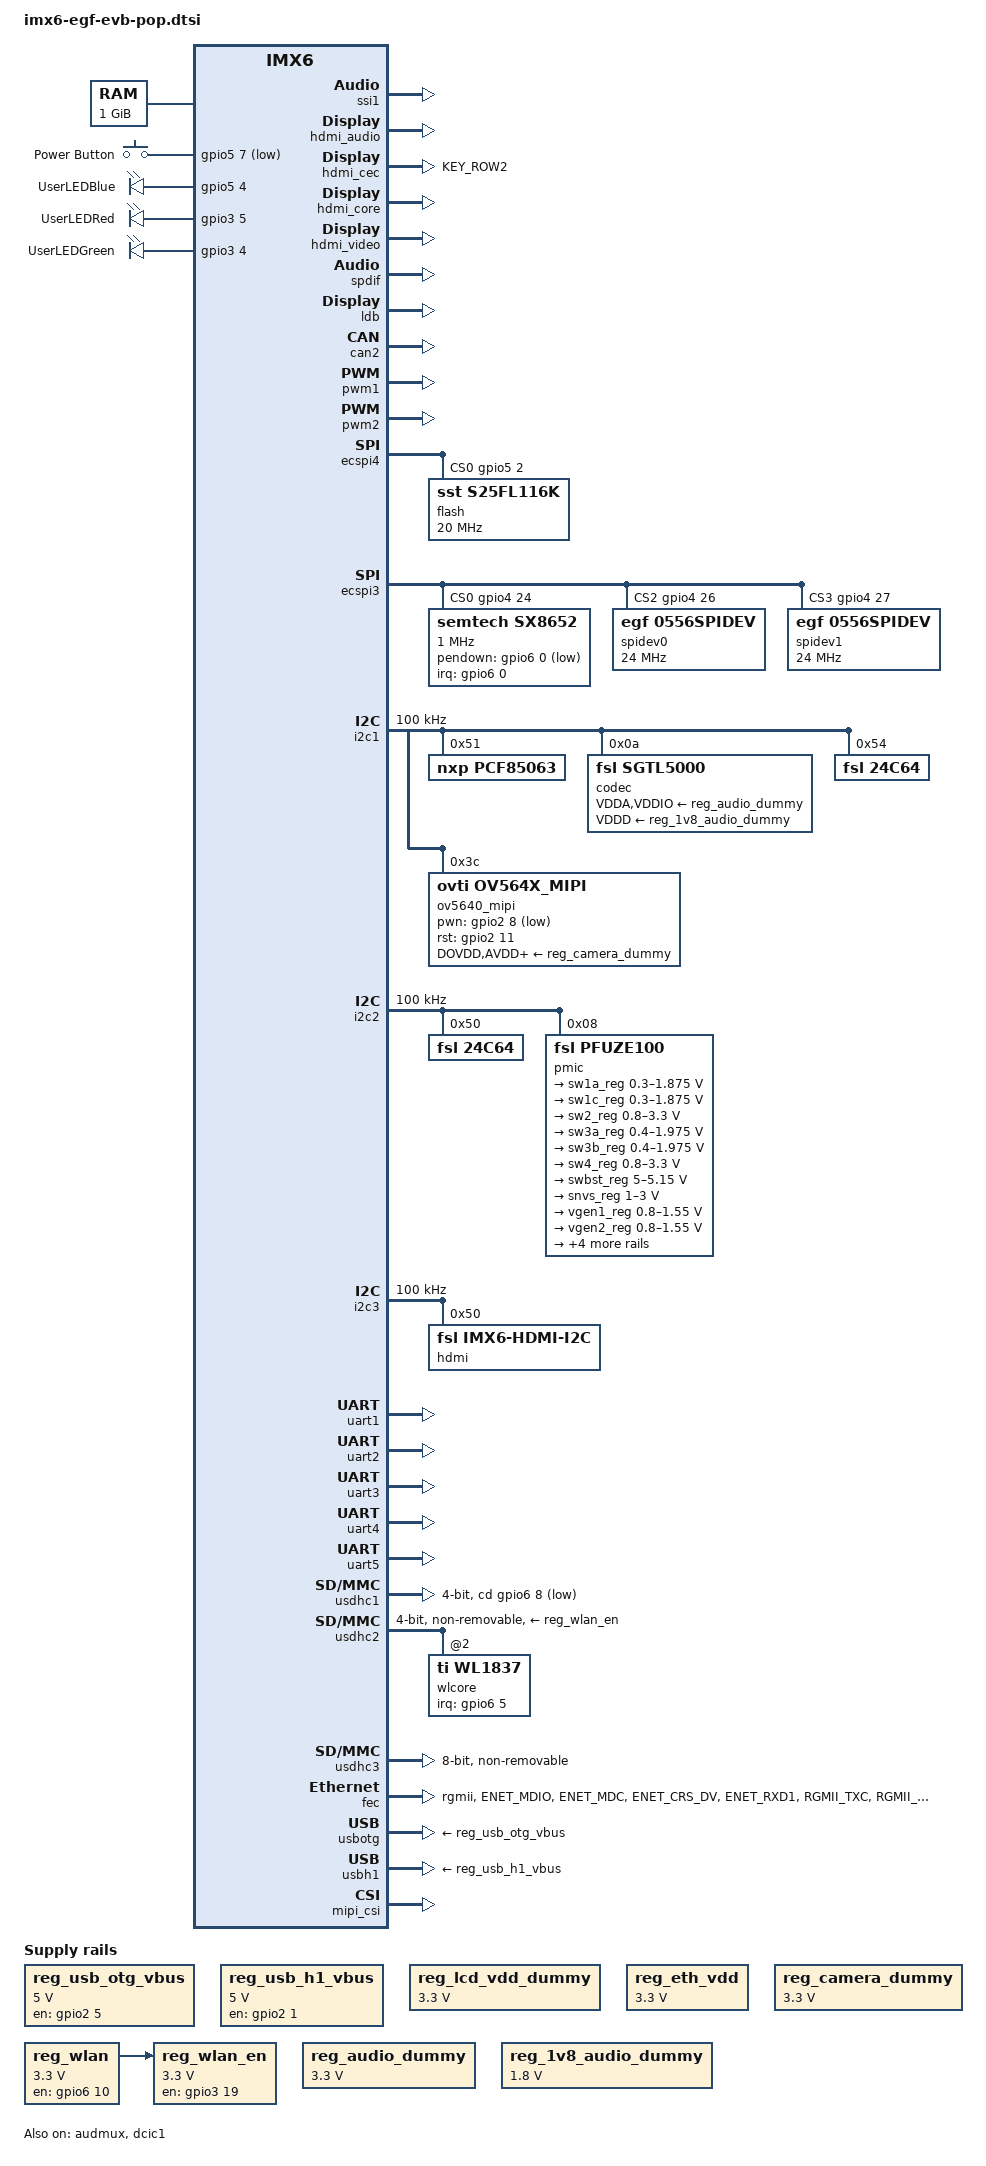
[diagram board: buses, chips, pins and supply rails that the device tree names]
/*
 * Copyright 2013 Freescale Semiconductor, Inc.
 *
 * Author: Fabio Estevam <fabio.estevam@freescale.com>
 *
 * This program is free software; you can redistribute it and/or modify
 * it under the terms of the GNU General Public License version 2 as
 * published by the Free Software Foundation.
 *
 */

#include <dt-bindings/input/input.h>
#include <dt-bindings/interrupt-controller/irq.h>

/ {
	aliases {
		mxcfb0 = &mxcfb1;
		lvds_channel0 = &lvds_channel0;
		lvds_channel0_timings = &lvds_channel0_timings;
		EGF_BLC1093 = &EGF_BLC1093;
	};

	chosen {
		stdout-path = &uart1;
	};

	memory: memory {
		reg = <0x10000000 0x40000000>;
	};

	gpio-keys {
		compatible = "gpio-keys";
		power {
			label = "Power Button";
			gpios = <&gpio5 7 1>;
			linux,code = <KEY_POWER>;
			gpio-key,wakeup;
		};
	};

	regulators {
		compatible = "simple-bus";
		#address-cells = <1>;
		#size-cells = <0>;

		reg_usb_otg_vbus: regulator@0 {
			compatible = "regulator-fixed";
			reg = <0>;
			gpio = <&gpio2 5 0>;
			regulator-name = "usb_otg_vbus";
			regulator-min-microvolt = <5000000>;
			regulator-max-microvolt = <5000000>;
			enable-active-high;
		};
		
		reg_usb_h1_vbus: regulator@1 {
			compatible = "regulator-fixed";
			reg = <1>;
			gpio = <&gpio2 1 0>;
			regulator-name = "usb_h1_vbus";
			regulator-min-microvolt = <5000000>;
			regulator-max-microvolt = <5000000>;
			enable-active-high;
		};
		
		
		reg_lcd_vdd_dummy: regulator@3 {
			compatible = "regulator-fixed";
			reg = <3>;
			regulator-name = "lcd_vdd";
			regulator-min-microvolt = <3300000>;
			regulator-max-microvolt = <3300000>;
			regulator-always-on;
		};

		
		reg_eth_vdd: regulator@5 {
			compatible = "regulator-fixed";
			reg = <5>;
			regulator-name = "eth_vdd";
			regulator-min-microvolt = <3300000>;
			regulator-max-microvolt = <3300000>;
			regulator-always-on;
		};		
		
		reg_camera_dummy: regulator@6 {
			compatible = "regulator-fixed";
			reg = <6>;
			regulator-name = "camera-supplies";
			regulator-min-microvolt = <3300000>;
			regulator-max-microvolt = <3300000>;
			regulator-always-on;
		};	
		
		reg_wlan: regulator@7 {
			compatible = "regulator-fixed";
			reg = <7>;
			regulator-name = "wlan-supply";
			regulator-min-microvolt = <3300000>;
			regulator-max-microvolt = <3300000>;
			gpio = <&gpio6 10 0>;
			enable-active-high;
			regulator-boot-on;
			regulator-always-on;
		};
		
		reg_wlan_en: regulator@8 {
			compatible = "regulator-fixed";
			reg = <8>;
			regulator-name = "wlan-en";
			regulator-min-microvolt = <3300000>;
			regulator-max-microvolt = <3300000>;
			startup-delay-us = <200000>;
			vin-supply = <&reg_wlan>;
			gpio = <&gpio3 19 0>;
			enable-active-high;
		};
		
		reg_audio_dummy: regulator@9 {
			compatible = "regulator-fixed";
			reg = <9>;
			regulator-name = "audio_vdda_vddio";
			regulator-min-microvolt = <3300000>;
			regulator-max-microvolt = <3300000>;
			regulator-always-on;
		};
		
		reg_1v8_audio_dummy: regulator@10 {
			compatible = "regulator-fixed";
			reg = <10>;
			regulator-name = "audio_vddd";
			regulator-min-microvolt = <1800000>;
			regulator-max-microvolt = <1800000>;
			regulator-always-on;		
		};

	};
	
	mxcfb1: fb@0 {
		compatible = "fsl,mxc_sdc_fb";
		disp_dev = "hdmi";
		interface_pix_fmt = "RGB24";
		mode_str ="1920x1080M@60";
		default_bpp = <24>;
		int_clk = <0>;
		late_init = <0>;
		status = "okay";
	};
	
	mxcfb2: fb@1 {
		compatible = "fsl,mxc_sdc_fb";
		disp_dev = "ldb";
		interface_pix_fmt = "RGB666";
		default_bpp = <18>;
		int_clk = <0>;
		late_init = <0>;
		status = "okay";
	};
	
	v4l2_cap_0 {
		compatible = "fsl,imx6q-v4l2-capture";
		ipu_id = <0>;
		csi_id = <0>;
		mclk_source = <0>;
		status = "okay";
	};

	v4l2_out {
		compatible = "fsl,mxc_v4l2_output";
		status = "okay";
	};

	sound {
		compatible = "fsl,imx-egf-pop-sgtl5000",
			     "fsl,imx-audio-sgtl5000";
		model = "imx-egf-pop-sgtl5000";
		ssi-controller = <&ssi1>;
		audio-codec = <&codec>;
		audio-routing =
			"Line Out Jack", "LINE_OUT",
			"MIC_IN", "Mic Jack",
			"Mic Jack", "Mic Bias";		
		mux-int-port = <1>;
		mux-ext-port = <5>;
	};
	
	sound-hdmi {
		compatible = "fsl,imx6q-audio-hdmi",
			     "fsl,imx-audio-hdmi";
		model = "imx-audio-hdmi";
		hdmi-controller = <&hdmi_audio>;
	};

	sound-spdif {
		compatible = "fsl,imx-audio-spdif",
			   "fsl,imx-egf-spdif";
		model = "imx-spdif";
		spdif-controller = <&spdif>;
		spdif-in;
		spdif-out;
	};

	leds {
		compatible = "gpio-leds";
		led_blue {
			label = "UserLEDBlue";
			gpios = <&gpio5 4 0>;
			linux,default-trigger = "heartbeat";
		};
		led_red {
			label = "UserLEDRed";
			gpios = <&gpio3 5 0>;
			linux,default-trigger = "none";
		};
		led_green {
			label = "UserLEDGreen";
			gpios = <&gpio3 4 0>;
			linux,default-trigger = "none";
		};
	};
	
};

&cpu0 {
	operating-points = <
	/* kHz    uV */
		1200000 1275000
		996000  1250000
		852000  1250000
		792000  1175000
		396000  1075000
	>;
	fsl,soc-operating-points = <
	/* ARM kHz  SOC-PU uV */
		1200000 1275000
		996000	1275000
		852000	1275000
		792000	1275000
		396000	1275000
	>;
};

&snvs_poweroff {
	status = "okay";
};

&audmux {
	status = "okay";
};

&ssi1 {
	fsl,mode = "i2s-slave";
	status = "okay";
};

&dcic1 {
	dcic_id = <0>;
	dcic_mux = "dcic-hdmi";
	status = "okay";
};

&hdmi_audio {
	status = "okay";
};

&hdmi_cec {
	pinctrl-names = "default";
	pinctrl-0 = <&pinctrl_hdmi_cec>;
	status = "okay";
};

&hdmi_core {
	ipu_id = <0>;
	disp_id = <1>;
	status = "okay";
};

&hdmi_video {
	fsl,phy_reg_vlev = <0x0294>;
	fsl,phy_reg_cksymtx = <0x800d>;
	status = "okay";
};

&spdif {
	pinctrl-names = "default";
	pinctrl-0 = <>;
	assigned-clocks = <&clks IMX6QDL_CLK_SPDIF_SEL>,
			  <&clks IMX6QDL_CLK_SPDIF_PODF>;
	assigned-clock-parents = <&clks IMX6QDL_CLK_PLL3_PFD3_454M>;
	assigned-clock-rates = <0>, <227368421>;
	status = "okay";
};

&ldb {
	status = "okay";
	enable-active-high;

	lvds_channel0: lvds-channel@0 {
		fsl,data-mapping = "spwg";
		fsl,data-width = <18>;
		crtc = "ipu1-di0";
		status = "okay";
		primary;

		lvds_channel0_timings: display-timings {
			native-mode = <&EGF_BLC1093>;
			EGF_BLC1093: kwh070kq13-f02 {
				clock-frequency = <40000000>;
				hactive = <800>;
				vactive = <480>;
				hback-porch = <45>;
				hfront-porch = <210>;
				vback-porch = <22>;
				vfront-porch = <132>;
				hsync-len = <1>;
				vsync-len = <1>;
			};
		};
	};
};

&can2 {
	status = "okay";
};

&pwm1 {
	status = "okay";
};

&pwm2 {
	status = "okay";
};

&cpu0 {
	arm-supply = <&sw1a_reg>;
	soc-supply = <&sw1c_reg>;
};

&gpc {
	//use ldo-bypass, u-boot will check it and configure
	fsl,ldo-bypass = <1>;
};

&iomuxc {
	pinctrl-names = "default";
	imx6q-egf {
		pinctrl_hdmi_cec: hdmicecgrp {
			fsl,pins = <
				MX6QDL_PAD_KEY_ROW2__HDMI_TX_CEC_LINE 0x1f8b0
			>;
		};

		pinctrl_enet: enetgrp {
			fsl,pins = <
				MX6QDL_PAD_ENET_MDIO__ENET_MDIO		0x1b0b0
				MX6QDL_PAD_ENET_MDC__ENET_MDC		0x1b0b0
				MX6QDL_PAD_ENET_CRS_DV__GPIO1_IO25	0x130b0		/* AR8035 reset */
				MX6QDL_PAD_ENET_RXD1__GPIO1_IO26	0x80000000	/* AR8035 interrupt */
				MX6QDL_PAD_RGMII_TXC__RGMII_TXC		0x1b0b0
				MX6QDL_PAD_RGMII_TD0__RGMII_TD0		0x1b0b0
				MX6QDL_PAD_RGMII_TD1__RGMII_TD1		0x1b0b0
				MX6QDL_PAD_RGMII_TD2__RGMII_TD2		0x1b0b0
				MX6QDL_PAD_RGMII_TD3__RGMII_TD3		0x1b0b0
				MX6QDL_PAD_RGMII_TX_CTL__RGMII_TX_CTL	0x1b0b0
				MX6QDL_PAD_ENET_REF_CLK__ENET_TX_CLK	0x1b0b0
				MX6QDL_PAD_RGMII_RXC__RGMII_RXC		0x1b0b0
				MX6QDL_PAD_RGMII_RD0__RGMII_RD0		0x1b0b0
				MX6QDL_PAD_RGMII_RD1__RGMII_RD1		0x1b0b0
				MX6QDL_PAD_RGMII_RD2__RGMII_RD2		0x1b0b0
				MX6QDL_PAD_RGMII_RD3__RGMII_RD3		0x1b0b0
				MX6QDL_PAD_RGMII_RX_CTL__RGMII_RX_CTL	0x1b0b0
			>;
		};
	};
};

&ecspi4 {
	fsl,spi-num-chipselects = <1>;
	cs-gpios = <&gpio5 2 0>;
	status = "okay";

	flash: m25p80@0 {
		compatible = "sst,s25fl116k";
		spi-max-frequency = <20000000>;
		reg = <0>;
		#address-cells = <1>;
		#size-cells = <1>;
		mtd0@00000000 {
			label = "SPL";
			reg = <0x000000 0x040000>;
		};
		mtd1@00040000 {
			label = "UBOOT";
			reg = <0x040000 0x100000>;
		};
		mtd2@00140000 {
			label = "DATA";
			reg = <0x140000 0x0C0000>;
		};

	};
};

&ecspi3 {
	fsl,spi-num-chipselects = <4>;
	cs-gpios = <
		&gpio4 24 0
		&gpio4 25 0
		&gpio4 26 0
		&gpio4 27 0
	>;
	status = "okay";
	
	sx8652@0 {
		compatible = "semtech,sx8652";
		interrupt-parent = <&gpio6>;   //GPIO6_IO0
		interrupts = <0 2>;
		spi-max-frequency = <1000000>;
		reg = <0>;
		x-min = /bits/ 16 <150>;
		x-max = /bits/ 16 <3830>;
		y-min = /bits/ 16 <190>;
		y-max = /bits/ 16 <3830>;
		x-plate-ohms = /bits/ 16 <450>;
		y-plate-ohms = /bits/ 16 <250>;
		pressure-max = /bits/ 16 <500>;
		pendown-gpio = <&gpio6 0 1>;
		ts-wires = /bits/ 8 <4>;
	};
	
	spidev0: spi@2 {
		compatible = "egf,0556spidev";
		reg = <2>;
		spi-max-frequency = <24000000>;
	};
	spidev1: spi@3 {
		compatible = "egf,0556spidev";
		reg = <3>;
		spi-max-frequency = <24000000>;
	};
};

&i2c1 {
	clock-frequency = <100000>;
	status = "okay";
	
	//rtc pcf85063
	pcf85063@51 {
		compatible = "nxp,pcf85063";
		reg = <0x51>;
	};

	codec: sgtl5000@0a {
		compatible = "fsl,sgtl5000";
		reg = <0x0a>;
		clocks = <&clks 201>;
		VDDA-supply = <&reg_audio_dummy>;
		VDDIO-supply = <&reg_audio_dummy>;
		VDDD-supply = <&reg_1v8_audio_dummy>;
	};
	
	// eeprom factory data (carrier)
	24c64@54 {
		compatible = "fsl,24c64";
		reg = <0x54>;
		pagesize = <32>;
	};
	
	ov5640_mipi: ov5640_mipi@3c { /* i2c2 driver */
		compatible = "ovti,ov564x_mipi";
		reg = <0x3c>;
		clocks = <&clks 201>;
		clock-names = "csi_mclk";
		DOVDD-supply = <&reg_camera_dummy>; /* 1.8v */
		AVDD-supply = <&reg_camera_dummy>;  /* 2.8v,*/
		DVDD-supply = <&reg_camera_dummy>;  /* 1.5v */
		pwn-gpios = <&gpio2 8 1>;   /* active low   */
		rst-gpios = <&gpio2 11 0>;   /* active high */
		csi_id = <0>;
		mclk = <24000000>;
		mclk_source = <0>;
	};
	
};

&i2c2 {
	clock-frequency = <100000>;
	status = "okay";
	
	//eeprom factory data (som)
	24c64@50 {
		compatible = "fsl,24c64";
		reg = <0x50>;
		pagesize = <32>;
	};
	
	pmic: pfuze100@08 {
		compatible = "fsl,pfuze100";
		reg = <0x08>;

		regulators {
			sw1a_reg: sw1ab {
				regulator-min-microvolt = <300000>;
				regulator-max-microvolt = <1875000>;
				regulator-boot-on;
				regulator-always-on;
				regulator-ramp-delay = <6250>;
			};

			sw1c_reg: sw1c {
				regulator-min-microvolt = <300000>;
				regulator-max-microvolt = <1875000>;
				regulator-boot-on;
				regulator-always-on;
				regulator-ramp-delay = <6250>;
			};

			sw2_reg: sw2 {
				regulator-min-microvolt = <800000>;
				regulator-max-microvolt = <3300000>;
				regulator-boot-on;
				regulator-always-on;
			};

			sw3a_reg: sw3a {
				regulator-min-microvolt = <400000>;
				regulator-max-microvolt = <1975000>;
				regulator-boot-on;
				regulator-always-on;
			};

			sw3b_reg: sw3b {
				regulator-min-microvolt = <400000>;
				regulator-max-microvolt = <1975000>;
				regulator-boot-on;
				regulator-always-on;
			};

			sw4_reg: sw4 {
				regulator-min-microvolt = <800000>;
				regulator-max-microvolt = <3300000>;
				regulator-boot-on;
				regulator-always-on;
			};

			swbst_reg: swbst {
				regulator-min-microvolt = <5000000>;
				regulator-max-microvolt = <5150000>;
			};

			snvs_reg: vsnvs {
				regulator-min-microvolt = <1000000>;
				regulator-max-microvolt = <3000000>;
				regulator-boot-on;
				regulator-always-on;
			};

			vref_reg: vrefddr {
				regulator-boot-on;
				regulator-always-on;
			};

			vgen1_reg: vgen1 {
				regulator-min-microvolt = <800000>;
				regulator-max-microvolt = <1550000>;
			};

			vgen2_reg: vgen2 {
				regulator-min-microvolt = <800000>;
				regulator-max-microvolt = <1550000>;
			};

			vgen3_reg: vgen3 {
				regulator-min-microvolt = <1800000>;
				regulator-max-microvolt = <3300000>;
			};

			vgen4_reg: vgen4 {
				regulator-min-microvolt = <1800000>;
				regulator-max-microvolt = <3300000>;
			};

			vgen5_reg: vgen5 {
				regulator-min-microvolt = <1800000>;
				regulator-max-microvolt = <3300000>;
			};

			vgen6_reg: vgen6 {
				regulator-min-microvolt = <1800000>;
				regulator-max-microvolt = <3300000>;
			};
		};
	};
};

&i2c3 {
	clock-frequency = <100000>;
	status = "okay";
	
	hdmi: edid@50 {
		compatible = "fsl,imx6-hdmi-i2c";
		reg = <0x50>;
	};
};

// UART1 - 2 fili 
&uart1 {
	status = "okay";
};

// UART2 - 4 fili 
&uart2 {
	fsl,uart-has-rtscts;
	status = "okay";
};

// UART3 - 4 fili 
&uart3 {
	fsl,uart-has-rtscts;
	status = "okay";
};

// UART4 - 2 fili 
&uart4 {
	status = "okay";
};

// UART5 - 2 fili 
&uart5 {
	status = "okay";
};

// microSD
&usdhc1 {
	pinctrl-names = "default";
	pinctrl-0 = <>;
	bus-width = <4>;
	no-1-8-v;
	cd-gpios = <&gpio6 8 1>;
	status = "okay";
};

//eMMC Flash Interna
&usdhc2 {
	pinctrl-names = "default";
	pinctrl-0 = <>;
	bus-width = <4>;
	non-removable;
	no-1-8-v;
	keep-power-in-suspend;
    enable-sdio-wakeup;
    cap-power-off-card;
    vmmc-supply = <&reg_wlan_en>;
	status = "okay";
	#address-cells = <1>;
	#size-cells = <0>;
	wlcore: wlcore@2 { 
		compatible = "ti,wl1837";
		reg = <2>;
		interrupt-parent = <&gpio6>;
		interrupts = <5 IRQ_TYPE_LEVEL_HIGH>;
	};
};


//eMMC Flash Interna
&usdhc3 {
	pinctrl-names = "default";
	pinctrl-0 = <>;
	bus-width = <8>;
	non-removable;
	no-1-8-v;
	status = "okay";
};

&fec {
	pinctrl-names = "default";
	pinctrl-0 = <&pinctrl_enet>;
	phy-mode = "rgmii";
	phy-reset-gpios = <&gpio1 25 0>;
	fsl,magic-packet;
	status = "okay";
};

&usbotg {
	vbus-supply = <&reg_usb_otg_vbus>;
	disable-over-current;
	srp-disable;
	hnp-disable;
	adp-disable;
	status = "okay";

};

&usbh1 {
	vbus-supply = <&reg_usb_h1_vbus>;
	status = "okay";
};

&mipi_csi {
    status = "okay";
    ipu_id = <0>;
    csi_id = <0>;
    v_channel = <0>;
    lanes = <2>;
};
